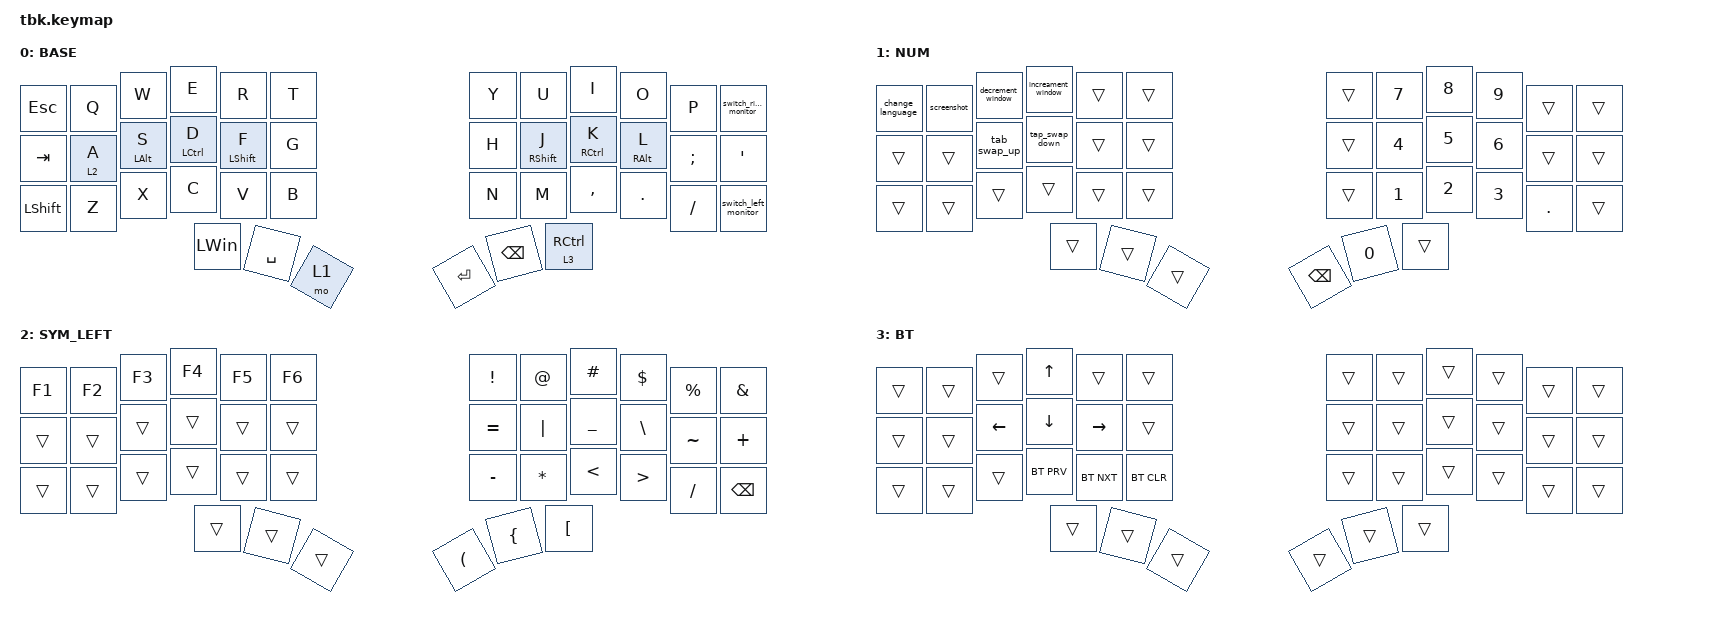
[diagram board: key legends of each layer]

#include <behaviors.dtsi>
#include <dt-bindings/zmk/bt.h>
#include <dt-bindings/zmk/keys.h>

&lt {
    flavor = "balanced";
    tapping-term-ms = <280>;
    quick-tap-ms = <175>;
    require-prior-idle-ms = <150>;
    hold-trigger-on-release;
    hold-trigger-key-positions = <1 0 12 24 25 26 27 28 29 5 4 3 2 15 16 17 6 18 30 31 19 7 8 20 32 33 21 9 10 22 11 23 35 34 41 40 39 38 36 37 14>;
};

/ {
    combos {
        compatible = "zmk,combos";

        PARANTHESIS_LEFT {
            bindings = <&kp RIGHT_PARENTHESIS>;
            key-positions = <20 21>;
        };

        BRACKETS_RIGHT {
            bindings = <&kp RIGHT_BRACKET>;
            key-positions = <8 9>;
        };

        BRACES_RIGHT {
            bindings = <&kp RIGHT_BRACE>;
            key-positions = <32 33>;
        };

        delete_combo {
            bindings = <&kp DELETE>;
            key-positions = <0 11>;
        };
    };

    behaviors {
        hm_mod_left: _hm_mod_left {
            compatible = "zmk,behavior-hold-tap";
            label = " HM_MOD_LEFT";
            bindings = <&kp>, <&kp>;

            #binding-cells = <2>;
            tapping-term-ms = <280>;
            hold-trigger-key-positions = <17 29 28 27 26 25 24 12 13 0 1 2 4 3 5 30 18 7 6 19 31 32 20 8 9 21 33 34 22 10 23 11 35 41 40 39 38 37 36>;
            flavor = "balanced";
            quick-tap-ms = <175>;
            require-prior-idle-ms = <150>;
            hold-trigger-on-release;
        };

        hm_mod_right: hm_mod_right {
            compatible = "zmk,behavior-hold-tap";
            label = "HM_MOD_RIGHT";
            bindings = <&kp>, <&kp>;

            #binding-cells = <2>;
            tapping-term-ms = <280>;
            flavor = "balanced";
            hold-trigger-key-positions = <29 17 5 4 16 28 27 15 3 2 14 26 25 13 0 1 12 24 30 18 6 31 7 8 32 33 9 10 22 34 35 23 11 41 40 39 38 37 36>;
            quick-tap-ms = <175>;
            require-prior-idle-ms = <150>;
            hold-trigger-on-release;
        };
    };

    macros {
        tab_swap_up: tab_swap_up {
            compatible = "zmk,behavior-macro";
            #binding-cells = <0>;
            bindings =
                <&macro_press>,
                <&kp RCTRL>,
                <&macro_press>,
                <&kp PAGE_UP>,
                <&macro_release>,
                <&kp RCTRL &kp PG_UP>;

            label = "TAB_SWAP_UP";
        };

        tap_swap_down: tap_swap_down {
            compatible = "zmk,behavior-macro";
            #binding-cells = <0>;
            bindings =
                <&macro_press>,
                <&kp RCTRL>,
                <&macro_tap>,
                <&kp PAGE_DOWN>,
                <&macro_release>,
                <&kp RCTRL &kp PAGE_DOWN>;

            label = "TAP_SWAP_DOWN";
        };

        increament_window: increament_window {
            compatible = "zmk,behavior-macro";
            #binding-cells = <0>;
            bindings =
                <&macro_press>,
                <&kp LEFT_SHIFT &kp RCTRL &kp RIGHT_ALT>,
                <&macro_press>,
                <&kp LS(F)>,
                <&macro_release>,
                <&kp LEFT_SHIFT &kp RCTRL &kp RIGHT_ALT &kp LS(F)>;

            label = "INCREAMENT_WINDOW";
        };

        decrement_window: decrement_window {
            compatible = "zmk,behavior-macro";
            #binding-cells = <0>;
            bindings =
                <&macro_press>,
                <&kp LEFT_SHIFT &kp RCTRL &kp RIGHT_ALT>,
                <&macro_tap>,
                <&kp E>,
                <&macro_release>,
                <&kp LEFT_SHIFT &kp RCTRL &kp RIGHT_ALT &kp E>;

            label = "DECREMENT_WINDOW";
        };

        change_language: change_language {
            compatible = "zmk,behavior-macro";
            #binding-cells = <0>;
            bindings =
                <&macro_press>,
                <&kp LEFT_WIN>,
                <&macro_tap>,
                <&kp NUMBER_1>,
                <&macro_release>,
                <&kp LEFT_GUI &kp NUMBER_1>;

            label = "CHANGE_LANGUAGE";
        };

        screenshot: screenshot {
            compatible = "zmk,behavior-macro";
            #binding-cells = <0>;
            bindings =
                <&macro_press>,
                <&kp LEFT_WIN>,
                <&macro_tap>,
                <&kp NUMBER_2>,
                <&macro_release>,
                <&kp LEFT_GUI &kp NUMBER_2>;

            label = "SCREENSHOT";
        };

        switch_right_monitor: switch_right_monitor {
            compatible = "zmk,behavior-macro";
            #binding-cells = <0>;
            bindings = <&macro_tap>, <&kp LS(LC(LA(B)))>;

            label = "SWITCH_RIGHT_MONITOR";
        };

        switch_left_monitor: switch_left_monitor {
            compatible = "zmk,behavior-macro";
            #binding-cells = <0>;
            bindings = <&macro_tap>, <&kp LS(LC(LA(K)))>;

            label = "SWITCH_LEFT_MONITOR";
        };
    };

    keymap {
        compatible = "zmk,keymap";

        BASE {
            bindings = <
&kp ESCAPE      &kp Q    &kp W                    &kp E                 &kp R                      &kp T    &kp Y      &kp U                        &kp I                  &kp O                      &kp P     &switch_right_monitor
&kp TAB         &lt 2 A  &hm_mod_left LEFT_ALT S  &hm_mod_left LCTRL D  &hm_mod_left LEFT_SHIFT F  &kp G    &kp H      &hm_mod_right RIGHT_SHIFT J  &hm_mod_right RCTRL K  &hm_mod_right RIGHT_ALT L  &kp SEMI  &kp APOS
&kp LEFT_SHIFT  &kp Z    &kp X                    &kp C                 &kp V                      &kp B    &kp N      &kp M                        &kp COMMA              &kp DOT                    &kp FSLH  &switch_left_monitor
                                                  &kp LEFT_WIN          &kp SPACE                  &mo 1    &kp ENTER  &kp BACKSPACE                &lt 3 RCTRL
            >;
        };

        NUM {
            bindings = <
&change_language  &screenshot  &decrement_window  &increament_window  &trans  &trans    &trans         &kp N7        &kp N8  &kp N9  &trans      &trans
&trans            &trans       &tab_swap_up       &tap_swap_down      &trans  &trans    &trans         &kp N4        &kp N5  &kp N6  &trans      &trans
&trans            &trans       &trans             &trans              &trans  &trans    &trans         &kp N1        &kp N2  &kp N3  &kp PERIOD  &trans
                                                  &trans              &trans  &trans    &kp BACKSPACE  &kp NUMBER_0  &trans
            >;
        };

        SYM_LEFT {
            bindings = <
&kp F1  &kp F2  &kp F3  &kp F4  &kp F5  &kp F6    &kp EXCLAMATION       &kp AT          &kp HASH          &kp DOLLAR        &kp PERCENT  &kp AMPERSAND
&trans  &trans  &trans  &trans  &trans  &trans    &kp EQUAL             &kp PIPE        &kp UNDER         &kp BACKSLASH     &kp TILDE    &kp PLUS
&trans  &trans  &trans  &trans  &trans  &trans    &kp MINUS             &kp ASTERISK    &kp LESS_THAN     &kp GREATER_THAN  &kp FSLH     &kp BACKSPACE
                        &trans  &trans  &trans    &kp LEFT_PARENTHESIS  &kp LEFT_BRACE  &kp LEFT_BRACKET
            >;
        };

        BT {
            bindings = <
&trans  &trans  &trans    &kp UP_ARROW  &trans      &trans        &trans  &trans  &trans  &trans  &trans  &trans
&trans  &trans  &kp LEFT  &kp DOWN      &kp RIGHT   &trans        &trans  &trans  &trans  &trans  &trans  &trans
&trans  &trans  &trans    &bt BT_PRV    &bt BT_NXT  &bt BT_CLR    &trans  &trans  &trans  &trans  &trans  &trans
                          &trans        &trans      &trans        &trans  &trans  &trans
            >;
        };
    };
};

